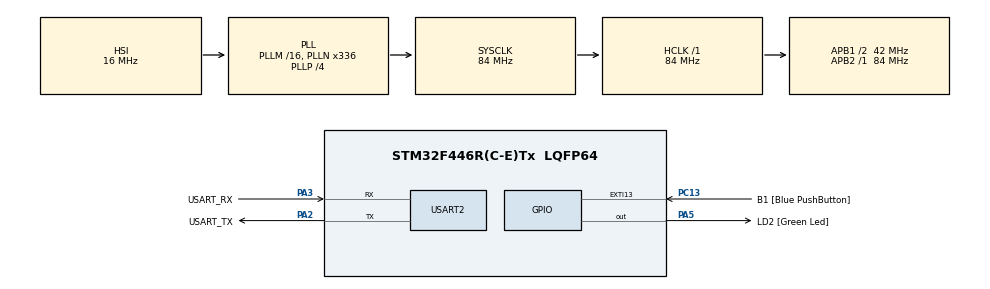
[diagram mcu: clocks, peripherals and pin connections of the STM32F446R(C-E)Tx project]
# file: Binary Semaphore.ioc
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FREERTOS.BinarySemaphores01=binarySemaphore,Dynamic,NULL
FREERTOS.Tasks01=TaskNormal,0,128,TaskNormalFunction,Default,NULL,Dynamic,NULL,NULL;TaskLow,-1,128,TaskLowFunction,Default,NULL,Dynamic,NULL,NULL;TaskHigh,1,128,TaskHighFunction,Default,NULL,Dynamic,NULL,NULL
Mcu.Family=STM32F4
Mcu.Name=STM32F446R(C-E)Tx
Mcu.Package=LQFP64
NVIC.PriorityGroup=NVIC_PRIORITYGROUP_4
NVIC.TIM6_DAC_IRQn=true\:15\:0\:false\:false\:true\:false\:false\:true\:true
NVIC.TimeBase=TIM6_DAC_IRQn
NVIC.TimeBaseIP=TIM6
PA13.GPIO_Label=TMS
PA13.Mode=Trace_Asynchronous_SW
PA13.Signal=SYS_JTMS-SWDIO
PA14.GPIO_Label=TCK
PA14.Mode=Trace_Asynchronous_SW
PA14.Signal=SYS_JTCK-SWCLK
PA2.GPIO_Label=USART_TX
PA2.Mode=Asynchronous
PA2.Signal=USART2_TX
PA3.GPIO_Label=USART_RX
PA3.Mode=Asynchronous
PA3.Signal=USART2_RX
PA5.GPIO_Label=LD2 [Green Led]
PA5.Signal=GPIO_Output
PB3.GPIO_Label=SWO
PB3.Mode=Trace_Asynchronous_SW
PB3.Signal=SYS_JTDO-SWO
PC13.GPIO_Label=B1 [Blue PushButton]
PC13.GPIO_ModeDefaultEXTI=GPIO_MODE_IT_FALLING
PC13.Signal=GPXTI13
PC14-OSC32_IN.Mode=LSE-External-Oscillator
PC14-OSC32_IN.Signal=RCC_OSC32_IN
PC15-OSC32_OUT.Mode=LSE-External-Oscillator
PC15-OSC32_OUT.Signal=RCC_OSC32_OUT
PH0-OSC_IN.Mode=HSE-External-Oscillator
PH0-OSC_IN.Signal=RCC_OSC_IN
PH1-OSC_OUT.Mode=HSE-External-Oscillator
PH1-OSC_OUT.Signal=RCC_OSC_OUT
ProjectManager.HeapSize=0x200
ProjectManager.StackSize=0x400
ProjectManager.TargetToolchain=STM32CubeIDE
RCC.48MHZClocksFreq_Value=84000000
RCC.AHBFreq_Value=84000000
RCC.APB1CLKDivider=RCC_HCLK_DIV2
RCC.APB1Freq_Value=42000000
RCC.APB1TimFreq_Value=84000000
RCC.APB2Freq_Value=84000000
RCC.APB2TimFreq_Value=84000000
RCC.CortexFreq_Value=84000000
RCC.FLatency-AdvancedSettings=FLASH_LATENCY_2
RCC.HCLKFreq_Value=84000000
RCC.HSE_VALUE=8000000
RCC.HSI_VALUE=16000000
RCC.PLLN=336
RCC.PLLP=RCC_PLLP_DIV4
RCC.SYSCLKFreq_VALUE=84000000
RCC.SYSCLKSource=RCC_SYSCLKSOURCE_PLLCLK
RCC.USBFreq_Value=168000000
RCC.VCOOutputFreq_Value=336000000
USART2.VirtualMode=VM_ASYNC
VP_FREERTOS_VS_CMSIS_V1.Mode=CMSIS_V1
VP_SYS_VS_tim6.Mode=TIM6
board=NUCLEO-F446RE

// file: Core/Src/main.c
/* USER CODE BEGIN Header */
/**
  ******************************************************************************
  * @file           : main.c
  * @brief          : Main program body
  ******************************************************************************
  * @attention
  *
  * Copyright (c) 2024 STMicroelectronics.
  * All rights reserved.
  *
  * This software is licensed under terms that can be found in the LICENSE file
  * in the root directory of this software component.
  * If no LICENSE file comes with this software, it is provided AS-IS.
  *
  ******************************************************************************
  */
/* USER CODE END Header */
#include "main.h"
#include "cmsis_os.h"

/* USER CODE BEGIN Includes */
#include "stdio.h"
/* USER CODE END Includes */

UART_HandleTypeDef huart2;

osThreadId TaskNormalHandle;
osThreadId TaskLowHandle;
osThreadId TaskHighHandle;
osSemaphoreId binarySemaphoreHandle;

void SystemClock_Config(void);
static void MX_GPIO_Init(void);
static void MX_USART2_UART_Init(void);
void TaskNormalFunction(void const * argument);
void TaskLowFunction(void const * argument);
void TaskHighFunction(void const * argument);

/* USER CODE BEGIN PFP */
#ifdef __GNUC__
#define PUTCHAR_PROTOTYPE int __io_putchar(int ch)
#else
#define PUTCHAR_PROTOTYPE int fputc(int ch, FILE *f)
#endif
PUTCHAR_PROTOTYPE
{
  HAL_UART_Transmit(&huart2, (uint8_t *)&ch, 1, HAL_MAX_DELAY);
  return ch;
}
/* USER CODE END PFP */

int main(void)
{

  /* MCU Configuration--------------------------------------------------------*/

  /* Reset of all peripherals, Initializes the Flash interface and the Systick. */
  HAL_Init();

  /* Configure the system clock */
  SystemClock_Config();

  /* Initialize all configured peripherals */
  MX_GPIO_Init();
  MX_USART2_UART_Init();

  /* Create the semaphores(s) */
  /* definition and creation of binarySemaphore */
  osSemaphoreDef(binarySemaphore);
  binarySemaphoreHandle = osSemaphoreCreate(osSemaphore(binarySemaphore), 1);

  /* Create the thread(s) */
  /* definition and creation of TaskNormal */
  osThreadDef(TaskNormal, TaskNormalFunction, osPriorityNormal, 0, 128);
  TaskNormalHandle = osThreadCreate(osThread(TaskNormal), NULL);

  /* definition and creation of TaskLow */
  osThreadDef(TaskLow, TaskLowFunction, osPriorityBelowNormal, 0, 128);
  TaskLowHandle = osThreadCreate(osThread(TaskLow), NULL);

  /* definition and creation of TaskHigh */
  osThreadDef(TaskHigh, TaskHighFunction, osPriorityAboveNormal, 0, 128);
  TaskHighHandle = osThreadCreate(osThread(TaskHigh), NULL);

  /* Start scheduler */
  osKernelStart();

  /* We should never get here as control is now taken by the scheduler */
  /* Infinite loop */
  while (1)
  {

  }
}

void SystemClock_Config(void)
{
  RCC_OscInitTypeDef RCC_OscInitStruct = {0};
  RCC_ClkInitTypeDef RCC_ClkInitStruct = {0};

  /** Configure the main internal regulator output voltage
  */
  __HAL_RCC_PWR_CLK_ENABLE();
  __HAL_PWR_VOLTAGESCALING_CONFIG(PWR_REGULATOR_VOLTAGE_SCALE3);

  /** Initializes the RCC Oscillators according to the specified parameters
  * in the RCC_OscInitTypeDef structure.
  */
  RCC_OscInitStruct.OscillatorType = RCC_OSCILLATORTYPE_HSI;
  RCC_OscInitStruct.HSIState = RCC_HSI_ON;
  RCC_OscInitStruct.HSICalibrationValue = RCC_HSICALIBRATION_DEFAULT;
  RCC_OscInitStruct.PLL.PLLState = RCC_PLL_ON;
  RCC_OscInitStruct.PLL.PLLSource = RCC_PLLSOURCE_HSI;
  RCC_OscInitStruct.PLL.PLLM = 16;
  RCC_OscInitStruct.PLL.PLLN = 336;
  RCC_OscInitStruct.PLL.PLLP = RCC_PLLP_DIV4;
  RCC_OscInitStruct.PLL.PLLQ = 2;
  RCC_OscInitStruct.PLL.PLLR = 2;
  if (HAL_RCC_OscConfig(&RCC_OscInitStruct) != HAL_OK)
  {
    Error_Handler();
  }

  /** Initializes the CPU, AHB and APB buses clocks
  */
  RCC_ClkInitStruct.ClockType = RCC_CLOCKTYPE_HCLK|RCC_CLOCKTYPE_SYSCLK
                              |RCC_CLOCKTYPE_PCLK1|RCC_CLOCKTYPE_PCLK2;
  RCC_ClkInitStruct.SYSCLKSource = RCC_SYSCLKSOURCE_PLLCLK;
  RCC_ClkInitStruct.AHBCLKDivider = RCC_SYSCLK_DIV1;
  RCC_ClkInitStruct.APB1CLKDivider = RCC_HCLK_DIV2;
  RCC_ClkInitStruct.APB2CLKDivider = RCC_HCLK_DIV1;

  if (HAL_RCC_ClockConfig(&RCC_ClkInitStruct, FLASH_LATENCY_2) != HAL_OK)
  {
    Error_Handler();
  }
}

static void MX_USART2_UART_Init(void)
{

  huart2.Instance = USART2;
  huart2.Init.BaudRate = 115200;
  huart2.Init.WordLength = UART_WORDLENGTH_8B;
  huart2.Init.StopBits = UART_STOPBITS_1;
  huart2.Init.Parity = UART_PARITY_NONE;
  huart2.Init.Mode = UART_MODE_TX_RX;
  huart2.Init.HwFlowCtl = UART_HWCONTROL_NONE;
  huart2.Init.OverSampling = UART_OVERSAMPLING_16;
  if (HAL_UART_Init(&huart2) != HAL_OK)
  {
    Error_Handler();
  }

}

static void MX_GPIO_Init(void)
{
  GPIO_InitTypeDef GPIO_InitStruct = {0};

  /* GPIO Ports Clock Enable */
  __HAL_RCC_GPIOC_CLK_ENABLE();
  __HAL_RCC_GPIOH_CLK_ENABLE();
  __HAL_RCC_GPIOA_CLK_ENABLE();
  __HAL_RCC_GPIOB_CLK_ENABLE();

  /*Configure GPIO pin Output Level */
  HAL_GPIO_WritePin(LD2_GPIO_Port, LD2_Pin, GPIO_PIN_RESET);

  /*Configure GPIO pin : B1_Pin */
  GPIO_InitStruct.Pin = B1_Pin;
  GPIO_InitStruct.Mode = GPIO_MODE_IT_FALLING;
  GPIO_InitStruct.Pull = GPIO_NOPULL;
  HAL_GPIO_Init(B1_GPIO_Port, &GPIO_InitStruct);

  /*Configure GPIO pin : LD2_Pin */
  GPIO_InitStruct.Pin = LD2_Pin;
  GPIO_InitStruct.Mode = GPIO_MODE_OUTPUT_PP;
  GPIO_InitStruct.Pull = GPIO_NOPULL;
  GPIO_InitStruct.Speed = GPIO_SPEED_FREQ_LOW;
  HAL_GPIO_Init(LD2_GPIO_Port, &GPIO_InitStruct);

}

void TaskNormalFunction(void const * argument)
{
  /* USER CODE BEGIN 5 */
  /* Infinite loop */
  for(;;)
  {
	  printf("Entered Normal Thread and waiting for a Semaphore\r\n");
	  osSemaphoreWait(binarySemaphoreHandle, osWaitForever);
	  printf("Semaphore of Normal Thread acquired\r\n");
	  while(HAL_GPIO_ReadPin(GPIOC, GPIO_PIN_13));
	  printf("Leaving Normal Thread and releasing Normal Semaphore\r\n\n");
	  osSemaphoreRelease(binarySemaphoreHandle);
	  osDelay(2000);
  }
  /* USER CODE END 5 */
}

void TaskLowFunction(void const * argument)
{
  /* USER CODE BEGIN TaskLowFunction */
  /* Infinite loop */
  for(;;)
  {
	  printf("Entered Low Thread\r\n");
	  printf("Leaving Low Thread\r\n\n");
	  osDelay(2000);
  }
  /* USER CODE END TaskLowFunction */
}

void TaskHighFunction(void const * argument)
{
  /* USER CODE BEGIN TaskHighFunction */
  /* Infinite loop */
  for(;;)
  {
	  printf("Entered High Thread and waiting for a Semaphore\r\n");
	  osSemaphoreWait(binarySemaphoreHandle, osWaitForever);
	  printf("Semaphore of High Thread acquired\r\n");
	  printf("Leaving High Thread and releasing High Semaphore\r\n\n");
	  osSemaphoreRelease(binarySemaphoreHandle);
	  osDelay(2000);
  }
  /* USER CODE END TaskHighFunction */
}

void HAL_TIM_PeriodElapsedCallback(TIM_HandleTypeDef *htim)
{
  if (htim->Instance == TIM6) {
    HAL_IncTick();
  }
}

void Error_Handler(void)
{
  __disable_irq();
  while (1)
  {
  }
}
